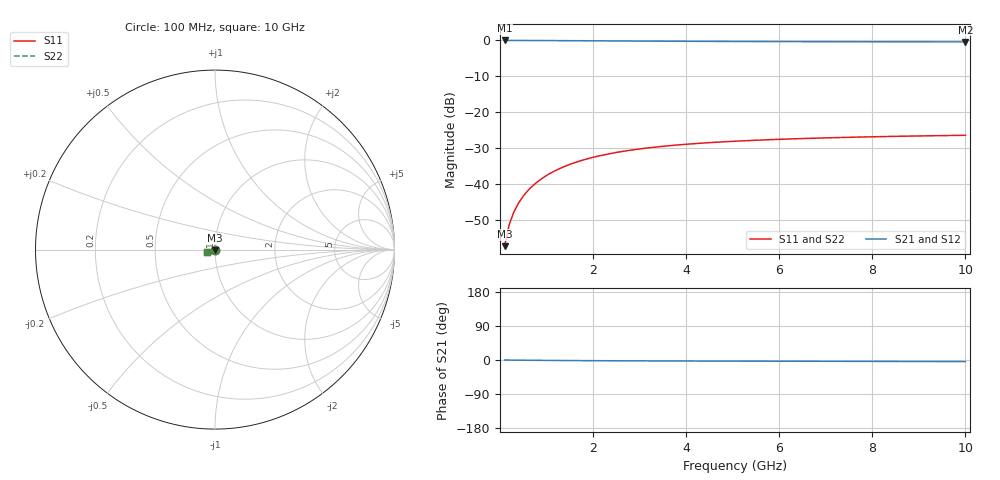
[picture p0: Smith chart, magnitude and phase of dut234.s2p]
! Touchstone file exported from HFSS 2024.1.0
!  File:  C:/UserFiles/LocalFiles/RDL_TSV_Batchsim/temp_TSV1_234_1779389057.aedt
!  Generated:  02:49:11 AM May 22, 2026
!  Design:  TSV1
!  Project:  temp_TSV1_234_1779389057
!  Setup:  Setup1
!  Solution:  Sweep
! Variables:
!  dtsv = 14.2um
!  hbump = 3um
!  htsv = 60.72um
!  lrdl = 252.1521522um
!  p = 40
!  p1 = 48.46um
!  t = 500um
!  trdl = 3um
!  wrdl = 24.89489489um
# GHz S MA R 50.000000
! Terminal data exported
! Port[1] = TSV22_T1
! Port[2] = TSV22_T2
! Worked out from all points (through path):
!   100 points, 100 MHz to 10 GHz, reference 50 ohm
!   highest |S21| = 0.00 dB at 100 MHz (marker M1); lowest = -0.4 dB at 10 GHz (marker M2)
!   lowest |S11| = -57.3 dB at 100 MHz (marker M3), VSWR 1.00, Z = 50 - j0.137 ohm
!   |S11| at or under -10 dB: start of sweep to end of sweep
!   |S22| runs from -57.3 to -26.4 dB; largest |S21 - S12| = 3.4e-15
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0.1  0.001366 -88.7  0.9999 -0.1  0.9999 -0.1  0.001366 -88.7
! Gamma 0 0 0 0
! Port Impedance 50 0 50 0
0.2  0.002736 -92.0  0.9998 -0.2  0.9998 -0.2  0.002736 -92.0
0.3  0.004103 -94.2  0.9995 -0.3  0.9995 -0.3  0.004103 -94.2
0.4  0.005458 -96.1  0.9993 -0.4  0.9993 -0.4  0.005458 -96.1
0.5  0.006798 -97.9  0.9989 -0.6  0.9989 -0.6  0.006798 -97.9
0.6  0.008119 -99.6  0.9984 -0.7  0.9984 -0.7  0.008119 -99.6
0.7  0.009419 -101.3  0.9979 -0.8  0.9979 -0.8  0.009419 -101.3
0.8  0.0107 -102.9  0.9974 -0.9  0.9974 -0.9  0.0107 -102.9
0.9  0.01195 -104.5  0.9968 -1.0  0.9968 -1.0  0.01195 -104.5
1.1  0.01436 -107.6  0.9954 -1.1  0.9954 -1.1  0.01436 -107.6
1.4  0.01774 -112.0  0.9931 -1.4  0.9931 -1.4  0.01774 -112.0
1.6  0.01982 -114.8  0.9914 -1.6  0.9914 -1.6  0.01982 -114.8
1.8  0.02177 -117.4  0.9897 -1.7  0.9897 -1.7  0.02177 -117.4
2.1  0.02444 -121.0  0.9872 -1.9  0.9872 -1.9  0.02444 -121.0
2.5  0.02757 -125.4  0.9839 -2.1  0.9839 -2.1  0.02757 -125.4
2.9  0.03025 -129.3  0.9808 -2.3  0.9808 -2.3  0.03025 -129.3
3.4  0.03307 -133.5  0.9772 -2.5  0.9772 -2.5  0.03307 -133.5
4.2  0.03665 -139.1  0.9723 -2.7  0.9723 -2.7  0.03665 -139.1
5.1  0.03968 -144.2  0.9678 -3.0  0.9678 -3.0  0.03968 -144.2
6.7  0.04345 -151.0  0.9619 -3.4  0.9619 -3.4  0.04345 -151.0
8.4  0.04609 -156.4  0.9576 -3.8  0.9576 -3.8  0.04609 -156.4
10  0.0478 -160.3  0.9547 -4.2  0.9547 -4.2  0.0478 -160.3
